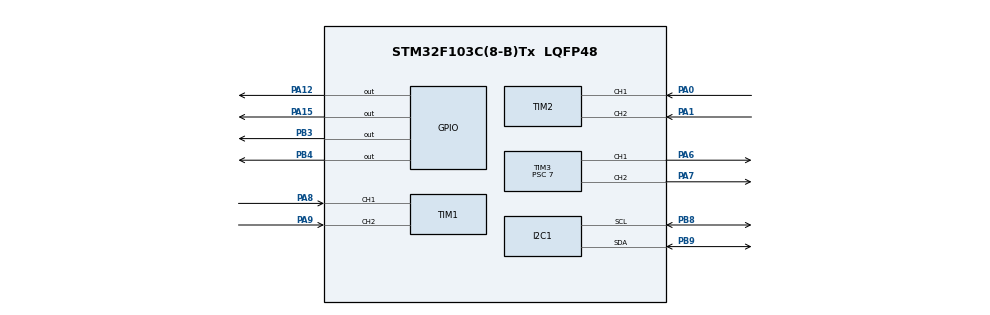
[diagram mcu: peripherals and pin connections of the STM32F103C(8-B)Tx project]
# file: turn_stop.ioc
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I2C1.I2C_Mode=I2C_Fast
Mcu.Family=STM32F1
Mcu.Name=STM32F103C(8-B)Tx
Mcu.Package=LQFP48
NVIC.PriorityGroup=NVIC_PRIORITYGROUP_4
NVIC.TIM1_UP_IRQn=true\:0\:0\:false\:false\:true\:true\:true\:true
NVIC.TIM2_IRQn=true\:0\:0\:false\:false\:true\:true\:true\:true
PA0-WKUP.Signal=S_TIM2_CH1_ETR
PA1.Signal=S_TIM2_CH2
PA12.Signal=GPIO_Output
PA13.Mode=Serial_Wire
PA13.Signal=SYS_JTMS-SWDIO
PA14.Mode=Serial_Wire
PA14.Signal=SYS_JTCK-SWCLK
PA15.Signal=GPIO_Output
PA6.Signal=S_TIM3_CH1
PA7.Signal=S_TIM3_CH2
PA8.Signal=S_TIM1_CH1
PA9.Signal=S_TIM1_CH2
PB3.Signal=GPIO_Output
PB4.Signal=GPIO_Output
PB8.Mode=I2C
PB8.Signal=I2C1_SCL
PB9.Mode=I2C
PB9.Signal=I2C1_SDA
ProjectManager.HeapSize=0x200
ProjectManager.StackSize=0x400
ProjectManager.TargetToolchain=STM32CubeIDE
RCC.APB1Freq_Value=8000000
RCC.APB2Freq_Value=8000000
SH.S_TIM1_CH1.0=TIM1_CH1,Encoder_Interface
SH.S_TIM1_CH2.0=TIM1_CH2,Encoder_Interface
SH.S_TIM2_CH1_ETR.0=TIM2_CH1,Encoder_Interface
SH.S_TIM2_CH2.0=TIM2_CH2,Encoder_Interface
SH.S_TIM3_CH1.0=TIM3_CH1,PWM Generation1 CH1
SH.S_TIM3_CH2.0=TIM3_CH2,PWM Generation2 CH2
TIM1.EncoderMode=TIM_ENCODERMODE_TI12
TIM1.IC1Filter=5
TIM1.IC2Filter=5
TIM2.EncoderMode=TIM_ENCODERMODE_TI12
TIM2.IC1Filter=5
TIM2.IC2Filter=5
TIM3.Channel-PWM\ Generation1\ CH1=TIM_CHANNEL_1
TIM3.Channel-PWM\ Generation2\ CH2=TIM_CHANNEL_2
TIM3.Period=199
TIM3.Prescaler=7
VP_TIM3_VS_ClockSourceINT.Mode=Internal
board=custom

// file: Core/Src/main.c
/* USER CODE BEGIN Header */
/**
  ******************************************************************************
  * @file           : main.c
  * @brief          : Main program body
  ******************************************************************************
  * @attention
  *
  * Copyright (c) 2025 STMicroelectronics.
  * All rights reserved.
  *
  * This software is licensed under terms that can be found in the LICENSE file
  * in the root directory of this software component.
  * If no LICENSE file comes with this software, it is provided AS-IS.
  *
  ******************************************************************************
  */
/* USER CODE END Header */
#include "main.h"

/* USER CODE BEGIN Includes */
#include <stdio.h>
#include <fonts.h>
#include <ssd1306.h>
/* USER CODE END Includes */

I2C_HandleTypeDef hi2c1;

TIM_HandleTypeDef htim1;
TIM_HandleTypeDef htim2;
TIM_HandleTypeDef htim3;

void SystemClock_Config(void);
static void MX_GPIO_Init(void);
static void MX_I2C1_Init(void);
static void MX_TIM1_Init(void);
static void MX_TIM2_Init(void);
static void MX_TIM3_Init(void);

int main(void)
{

  /* MCU Configuration--------------------------------------------------------*/

  /* Reset of all peripherals, Initializes the Flash interface and the Systick. */
  HAL_Init();

  /* Configure the system clock */
  SystemClock_Config();

  /* Initialize all configured peripherals */
  MX_GPIO_Init();
  MX_I2C1_Init();
  MX_TIM1_Init();
  MX_TIM2_Init();
  MX_TIM3_Init();
  /* USER CODE BEGIN 2 */
  SSD1306_Init();
  SSD1306_GotoXY(10, 10);
  SSD1306_Puts("Hello", &Font_11x18, 1);
  SSD1306_UpdateScreen();
  HAL_Delay(1000);

  int counterValueLeft=0;
  char snumLeft[5];
  int counterValueRight=0;
  char snumRight[5];

  SSD1306_GotoXY (0,0);
      SSD1306_Puts ("Imanchana", &Font_11x18, 1);
      SSD1306_GotoXY (0, 30);
      SSD1306_Puts ("Kaveeshwara", &Font_11x18, 1);
      SSD1306_UpdateScreen();
      HAL_Delay (1000);

      SSD1306_ScrollRight(0,7);
      HAL_Delay(3000);
      SSD1306_ScrollLeft(0,7);
      HAL_Delay(3000);
      SSD1306_Stopscroll();
      SSD1306_Clear();
      HAL_TIM_Encoder_Start(&htim1,TIM_CHANNEL_ALL);
        HAL_TIM_Encoder_Start(&htim2,TIM_CHANNEL_ALL);
  /* USER CODE END 2 */

  /* Infinite loop */
  /* USER CODE BEGIN WHILE */
  while (1)
  {
	  counterValueRight = TIM1->CNT;
	  counterValueLeft = TIM2->CNT;
	  itoa(counterValueLeft, snumLeft, 10);
	  itoa(counterValueRight, snumRight, 10);
	  SSD1306_GotoXY (37, 10);
	  SSD1306_Puts (snumLeft, &Font_11x18, 1);
	  SSD1306_GotoXY (37, 40);
	  SSD1306_Puts (snumRight, &Font_11x18, 1);
	  SSD1306_UpdateScreen();
	 // HAL_Delay (500);

//	  HAL_GPIO_WritePin(GPIOB,GPIO_PIN_3,1);
//	  HAL_GPIO_WritePin(GPIOA,GPIO_PIN_12,1);
//	  TIM3->CCR1 = 100;
//	  HAL_TIM_PWM_Start(&htim3,TIM_CHANNEL_1);
//	  HAL_TIM_PWM_Start(&htim3,TIM_CHANNEL_2);
//	  HAL_Delay(3000);
//
//	  HAL_GPIO_WritePin(GPIOB,GPIO_PIN_3,0);
//	  HAL_GPIO_WritePin(GPIOA,GPIO_PIN_12,0);
//	  HAL_Delay(1000);

//	  if(counterValueLeft>=1000&&counterValueRight>=1000){
//
//		  SSD1306_GotoXY (37, 10);
//		  SSD1306_Puts (snumLeft, &Font_11x18, 1);
//
//	  }
    /* USER CODE END WHILE */

  }
}

void SystemClock_Config(void)
{
  RCC_OscInitTypeDef RCC_OscInitStruct = {0};
  RCC_ClkInitTypeDef RCC_ClkInitStruct = {0};

  /** Initializes the RCC Oscillators according to the specified parameters
  * in the RCC_OscInitTypeDef structure.
  */
  RCC_OscInitStruct.OscillatorType = RCC_OSCILLATORTYPE_HSI;
  RCC_OscInitStruct.HSIState = RCC_HSI_ON;
  RCC_OscInitStruct.HSICalibrationValue = RCC_HSICALIBRATION_DEFAULT;
  RCC_OscInitStruct.PLL.PLLState = RCC_PLL_NONE;
  if (HAL_RCC_OscConfig(&RCC_OscInitStruct) != HAL_OK)
  {
    Error_Handler();
  }

  /** Initializes the CPU, AHB and APB buses clocks
  */
  RCC_ClkInitStruct.ClockType = RCC_CLOCKTYPE_HCLK|RCC_CLOCKTYPE_SYSCLK
                              |RCC_CLOCKTYPE_PCLK1|RCC_CLOCKTYPE_PCLK2;
  RCC_ClkInitStruct.SYSCLKSource = RCC_SYSCLKSOURCE_HSI;
  RCC_ClkInitStruct.AHBCLKDivider = RCC_SYSCLK_DIV1;
  RCC_ClkInitStruct.APB1CLKDivider = RCC_HCLK_DIV1;
  RCC_ClkInitStruct.APB2CLKDivider = RCC_HCLK_DIV1;

  if (HAL_RCC_ClockConfig(&RCC_ClkInitStruct, FLASH_LATENCY_0) != HAL_OK)
  {
    Error_Handler();
  }
}

static void MX_I2C1_Init(void)
{

  hi2c1.Instance = I2C1;
  hi2c1.Init.ClockSpeed = 400000;
  hi2c1.Init.DutyCycle = I2C_DUTYCYCLE_2;
  hi2c1.Init.OwnAddress1 = 0;
  hi2c1.Init.AddressingMode = I2C_ADDRESSINGMODE_7BIT;
  hi2c1.Init.DualAddressMode = I2C_DUALADDRESS_DISABLE;
  hi2c1.Init.OwnAddress2 = 0;
  hi2c1.Init.GeneralCallMode = I2C_GENERALCALL_DISABLE;
  hi2c1.Init.NoStretchMode = I2C_NOSTRETCH_DISABLE;
  if (HAL_I2C_Init(&hi2c1) != HAL_OK)
  {
    Error_Handler();
  }

}

static void MX_TIM1_Init(void)
{

  TIM_Encoder_InitTypeDef sConfig = {0};
  TIM_MasterConfigTypeDef sMasterConfig = {0};

  htim1.Instance = TIM1;
  htim1.Init.Prescaler = 0;
  htim1.Init.CounterMode = TIM_COUNTERMODE_UP;
  htim1.Init.Period = 65535;
  htim1.Init.ClockDivision = TIM_CLOCKDIVISION_DIV1;
  htim1.Init.RepetitionCounter = 0;
  htim1.Init.AutoReloadPreload = TIM_AUTORELOAD_PRELOAD_DISABLE;
  sConfig.EncoderMode = TIM_ENCODERMODE_TI12;
  sConfig.IC1Polarity = TIM_ICPOLARITY_RISING;
  sConfig.IC1Selection = TIM_ICSELECTION_DIRECTTI;
  sConfig.IC1Prescaler = TIM_ICPSC_DIV1;
  sConfig.IC1Filter = 5;
  sConfig.IC2Polarity = TIM_ICPOLARITY_RISING;
  sConfig.IC2Selection = TIM_ICSELECTION_DIRECTTI;
  sConfig.IC2Prescaler = TIM_ICPSC_DIV1;
  sConfig.IC2Filter = 5;
  if (HAL_TIM_Encoder_Init(&htim1, &sConfig) != HAL_OK)
  {
    Error_Handler();
  }
  sMasterConfig.MasterOutputTrigger = TIM_TRGO_RESET;
  sMasterConfig.MasterSlaveMode = TIM_MASTERSLAVEMODE_DISABLE;
  if (HAL_TIMEx_MasterConfigSynchronization(&htim1, &sMasterConfig) != HAL_OK)
  {
    Error_Handler();
  }

}

static void MX_TIM2_Init(void)
{

  TIM_Encoder_InitTypeDef sConfig = {0};
  TIM_MasterConfigTypeDef sMasterConfig = {0};

  htim2.Instance = TIM2;
  htim2.Init.Prescaler = 0;
  htim2.Init.CounterMode = TIM_COUNTERMODE_UP;
  htim2.Init.Period = 65535;
  htim2.Init.ClockDivision = TIM_CLOCKDIVISION_DIV1;
  htim2.Init.AutoReloadPreload = TIM_AUTORELOAD_PRELOAD_DISABLE;
  sConfig.EncoderMode = TIM_ENCODERMODE_TI12;
  sConfig.IC1Polarity = TIM_ICPOLARITY_RISING;
  sConfig.IC1Selection = TIM_ICSELECTION_DIRECTTI;
  sConfig.IC1Prescaler = TIM_ICPSC_DIV1;
  sConfig.IC1Filter = 5;
  sConfig.IC2Polarity = TIM_ICPOLARITY_RISING;
  sConfig.IC2Selection = TIM_ICSELECTION_DIRECTTI;
  sConfig.IC2Prescaler = TIM_ICPSC_DIV1;
  sConfig.IC2Filter = 5;
  if (HAL_TIM_Encoder_Init(&htim2, &sConfig) != HAL_OK)
  {
    Error_Handler();
  }
  sMasterConfig.MasterOutputTrigger = TIM_TRGO_RESET;
  sMasterConfig.MasterSlaveMode = TIM_MASTERSLAVEMODE_DISABLE;
  if (HAL_TIMEx_MasterConfigSynchronization(&htim2, &sMasterConfig) != HAL_OK)
  {
    Error_Handler();
  }

}

static void MX_TIM3_Init(void)
{

  TIM_ClockConfigTypeDef sClockSourceConfig = {0};
  TIM_MasterConfigTypeDef sMasterConfig = {0};
  TIM_OC_InitTypeDef sConfigOC = {0};

  htim3.Instance = TIM3;
  htim3.Init.Prescaler = 7;
  htim3.Init.CounterMode = TIM_COUNTERMODE_UP;
  htim3.Init.Period = 199;
  htim3.Init.ClockDivision = TIM_CLOCKDIVISION_DIV1;
  htim3.Init.AutoReloadPreload = TIM_AUTORELOAD_PRELOAD_DISABLE;
  if (HAL_TIM_Base_Init(&htim3) != HAL_OK)
  {
    Error_Handler();
  }
  sClockSourceConfig.ClockSource = TIM_CLOCKSOURCE_INTERNAL;
  if (HAL_TIM_ConfigClockSource(&htim3, &sClockSourceConfig) != HAL_OK)
  {
    Error_Handler();
  }
  if (HAL_TIM_PWM_Init(&htim3) != HAL_OK)
  {
    Error_Handler();
  }
  sMasterConfig.MasterOutputTrigger = TIM_TRGO_RESET;
  sMasterConfig.MasterSlaveMode = TIM_MASTERSLAVEMODE_DISABLE;
  if (HAL_TIMEx_MasterConfigSynchronization(&htim3, &sMasterConfig) != HAL_OK)
  {
    Error_Handler();
  }
  sConfigOC.OCMode = TIM_OCMODE_PWM1;
  sConfigOC.Pulse = 0;
  sConfigOC.OCPolarity = TIM_OCPOLARITY_HIGH;
  sConfigOC.OCFastMode = TIM_OCFAST_DISABLE;
  if (HAL_TIM_PWM_ConfigChannel(&htim3, &sConfigOC, TIM_CHANNEL_1) != HAL_OK)
  {
    Error_Handler();
  }
  if (HAL_TIM_PWM_ConfigChannel(&htim3, &sConfigOC, TIM_CHANNEL_2) != HAL_OK)
  {
    Error_Handler();
  }
  HAL_TIM_MspPostInit(&htim3);

}

static void MX_GPIO_Init(void)
{
  GPIO_InitTypeDef GPIO_InitStruct = {0};

  /* GPIO Ports Clock Enable */
  __HAL_RCC_GPIOA_CLK_ENABLE();
  __HAL_RCC_GPIOB_CLK_ENABLE();

  /*Configure GPIO pin Output Level */
  HAL_GPIO_WritePin(GPIOA, GPIO_PIN_12|GPIO_PIN_15, GPIO_PIN_RESET);

  /*Configure GPIO pin Output Level */
  HAL_GPIO_WritePin(GPIOB, GPIO_PIN_3|GPIO_PIN_4, GPIO_PIN_RESET);

  /*Configure GPIO pins : PA12 PA15 */
  GPIO_InitStruct.Pin = GPIO_PIN_12|GPIO_PIN_15;
  GPIO_InitStruct.Mode = GPIO_MODE_OUTPUT_PP;
  GPIO_InitStruct.Pull = GPIO_NOPULL;
  GPIO_InitStruct.Speed = GPIO_SPEED_FREQ_LOW;
  HAL_GPIO_Init(GPIOA, &GPIO_InitStruct);

  /*Configure GPIO pins : PB3 PB4 */
  GPIO_InitStruct.Pin = GPIO_PIN_3|GPIO_PIN_4;
  GPIO_InitStruct.Mode = GPIO_MODE_OUTPUT_PP;
  GPIO_InitStruct.Pull = GPIO_NOPULL;
  GPIO_InitStruct.Speed = GPIO_SPEED_FREQ_LOW;
  HAL_GPIO_Init(GPIOB, &GPIO_InitStruct);

}

void Error_Handler(void)
{
  __disable_irq();
  while (1)
  {
  }
}
